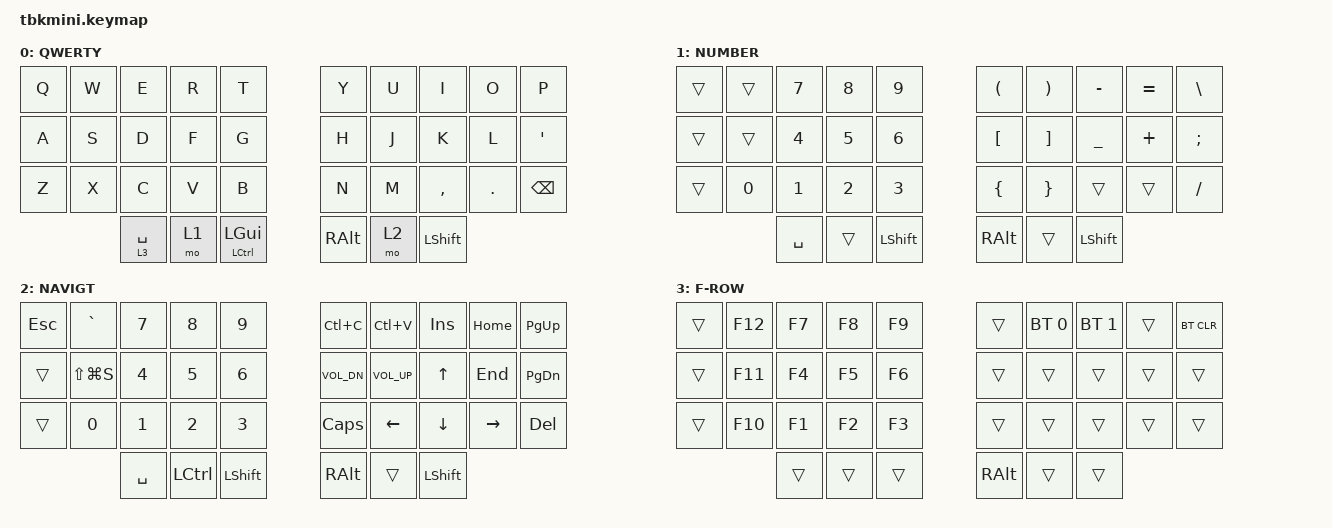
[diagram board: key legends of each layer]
// Copyright 2021 Manna Harbour
// https://github.com/manna-harbour/miryoku

#include "../miryoku/custom_config.h"
#include "../miryoku/mapping/42/corne.h"
#include "../miryoku/miryoku.dtsi"

/ {
    combos {
        compatible = "zmk,combos";
        combo_enter {
            timeout-ms = <50>;
            key-positions = <27 28>;
            bindings = <&kp RET>;
        };
        combo_esc {
            timeout-ms = <50>;
            key-positions = <0 1>;
            bindings = <&kp ESC>;
        };

        combo_skctrl {
            timeout-ms = <50>;
            key-positions = <1 2>;
            bindings = <&sk LCTRL>;
        };

        combo_skalt {
            timeout-ms = <50>;
            key-positions = <11 12>;
            bindings = <&sk LALT>;
        };

        combo_skwin {
            timeout-ms = <50>;
            key-positions = <21 22>;
            bindings = <&sk LGUI>;
        };

        combo_tab {
            timeout-ms = <50>;
            key-positions = <10 11 12>;
            bindings = <&kp TAB>;
        };

        combo_alt {
            timeout-ms = <50>;
            key-positions = <17 18>;
            bindings = <&kp LALT>;
        };
    };
};

/ {
        keymap {
                compatible = "zmk,keymap";

                default_layer {
                        label = "QWERTY";
                        
                        bindings = <
   &kp Q &kp W &kp E &kp R &kp T   &kp Y &kp U  &kp I     &kp O   &kp P  
   &kp A &kp S &kp D &kp F &kp G   &kp H &kp J  &kp K     &kp L   &kp SQT
   &kp Z &kp X &kp C &kp V &kp B   &kp N &kp M  &kp COMMA &kp DOT &kp BSPC
             &lt 3 SPACE &mo 1 &mt LCTRL LGUI   &kp RALT &mo 2 &kp LSHFT
                        >;
                };
                
                lower_layer {
                        label = "NUMBER";

                        bindings = <
   &trans  &trans &kp N7  &kp N8  &kp N9  &kp LPAR	&kp RPAR	&kp MINUS 	&kp EQUAL	&kp BSLH
   &trans  &trans &kp N4  &kp N5  &kp N6  &kp LBKT	&kp RBKT 	&kp UNDER	  &kp PLUS	&kp SEMI
   &trans  &kp N0 &kp N1  &kp N2  &kp N3   &kp LBRC  &kp RBRC	&trans  	  &trans    &kp FSLH
                           &kp SPACE &trans &kp LSHFT    &kp RALT &trans &kp LSHFT
                        >;
                };

                raise_layer {
                        label = "NAVIGT";

                        bindings = <
   &kp ESC  &kp GRAVE     &kp N7  &kp N8  &kp N9    &kp LC(C)	&kp LC(V)	&kp INS		&kp HOME	&kp PG_UP
   &trans   &kp LS(LG(S)) &kp N4  &kp N5  &kp N6    &kp C_VOL_DN		&kp C_VOL_UP		&kp UP 		&kp END		&kp PG_DN
   &trans   &kp N0	  &kp N1  &kp N2  &kp N3    &kp CAPS	&kp LEFT 	&kp DOWN	&kp RIGHT &kp DEL
                              &kp SPACE &kp LCTRL &kp LSHFT &kp RALT &trans &kp LSHFT
                        >;
                }; 
                
                mid_layer {
                      label = "F-ROW";
                      
                      bindings = <
   &trans &kp F12 &kp F7 &kp F8 &kp F9   &trans &bt BT_SEL 0  &bt BT_SEL 1  &trans  &bt BT_CLR
   &trans &kp F11 &kp F4 &kp F5 &kp F6   &trans &trans  &trans &trans  &trans
   &trans &kp F10 &kp F1 &kp F2 &kp F3   &trans &trans  &trans  &trans  &trans
        		              &trans &trans &trans   &kp RALT &trans &trans
                          >;
                 };       
        };
};
